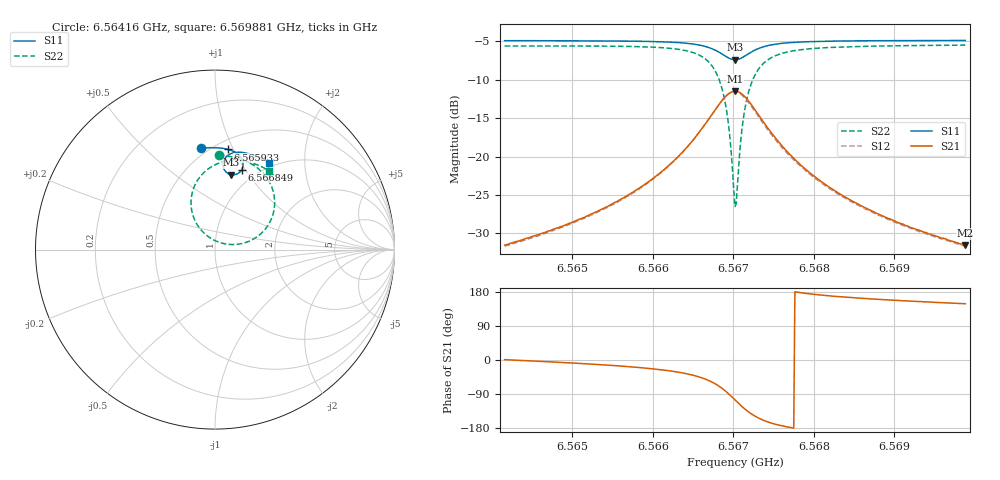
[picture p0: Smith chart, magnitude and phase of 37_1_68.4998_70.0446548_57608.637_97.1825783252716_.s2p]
#  HZ  S  RI  R  50.00
! Rohde & Schwarz Vector Network Analyzer
! Rohde-Schwarz,ZNB20-2Port,1311601062101988,3.16
! Created: UTC 3/20/2024, 5:05:19 PM
! freq[Hz]  re:S11  im:S11  re:S21  im:S21  re:S12  im:S12  re:S22  im:S22
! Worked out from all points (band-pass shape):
!   401 points, 6.56416 GHz to 6.569881 GHz, reference 50 ohm
!   highest |S21| = -11.48 dB at 6.56702 GHz (marker M1); lowest = -31.6 dB at 6.569881 GHz (marker M2)
!   |S21| within 3 dB of the highest: 6.566736 GHz to 6.567307 GHz (570.7 kHz wide, 0.00869 % of centre)
!   lowest |S11| = -7.4 dB at 6.56702 GHz (marker M3), VSWR 2.49, Z = 40.7 + j41.6 ohm
!   |S11| at or under -10 dB: nowhere
!   |S22| runs from -26.5 to -5.5 dB; largest |S21 - S12| = 0.012
!   S11 on the Smith chart (normalised r, x): 6.56416 GHz: 0.46, +0.76; 6.565933 GHz: 0.58, +0.95; 6.566849 GHz: 0.84, +0.97; 6.569881 GHz: 0.93, +1.34
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6.5641596e9  -0.078 0.5636  0.0266 0.000389  0.0262 -8.51e-05  0.0209 0.5248
6.5651179e9  -0.000314 0.5679  0.039 -0.00648  0.0385 -0.0071  0.1094 0.5137
6.5659333e9  0.0737 0.558  0.063 -0.0252  0.062 -0.026  0.2086 0.4742
6.5660763e9  0.0882 0.5533  0.0702 -0.0328  0.069 -0.0336  0.2313 0.4588
6.566391e9  0.1233 0.535  0.0903 -0.0634  0.0889 -0.0646  0.2897 0.3986
6.5666055e9  0.1477 0.5081  0.1034 -0.1103  0.1012 -0.1124  0.3279 0.3079
6.5667486e9  0.1565 0.4756  0.0972 -0.1669  0.0932 -0.1697  0.3242 0.2
6.5668487e9  0.149 0.4455  0.0666 -0.2185  0.0597 -0.2211  0.2705 0.1031
6.5668916e9  0.1395 0.4329  0.0419 -0.2392  0.0333 -0.241  0.2254 0.0653
6.5669345e9  0.1254 0.4228  0.00917 -0.2552  -0.000812 -0.2551  0.166 0.038
6.5670061e9  0.0952 0.4168  -0.0567 -0.2603  -0.0674 -0.256  0.0485 0.0336
6.5670204e9  0.0889 0.4178  -0.0703 -0.2574  -0.0808 -0.252  0.025 0.0402
6.567049e9  0.0766 0.4219  -0.0959 -0.2476  -0.1056 -0.2404  -0.0191 0.0603
6.5671062e9  0.0572 0.4369  -0.1379 -0.2153  -0.1447 -0.2057  -0.0877 0.1218
6.5671491e9  0.0484 0.452  -0.1582 -0.1853  -0.1625 -0.175  -0.1179 0.177
6.5672063e9  0.0444 0.4725  -0.171 -0.1447  -0.1722 -0.1349  -0.1333 0.249
6.5672778e9  0.0483 0.4947  -0.1708 -0.1015  -0.1698 -0.0931  -0.1248 0.3243
6.5675353e9  0.0875 0.5341  -0.1278 -0.0219  -0.1252 -0.0184  -0.0279 0.4566
6.5679787e9  0.146 0.5421  -0.0758 0.00816  -0.0741 0.00934  0.0936 0.4967
6.5683792e9  0.186 0.5353  -0.0533 0.0132  -0.0521 0.0138  0.1593 0.4937
6.5689371e9  0.2328 0.5195  -0.0367 0.0146  -0.0358 0.0148  0.2231 0.477
6.5698812e9  0.3013 0.485  -0.0226 0.0138  -0.0221 0.014  0.3026 0.4383
